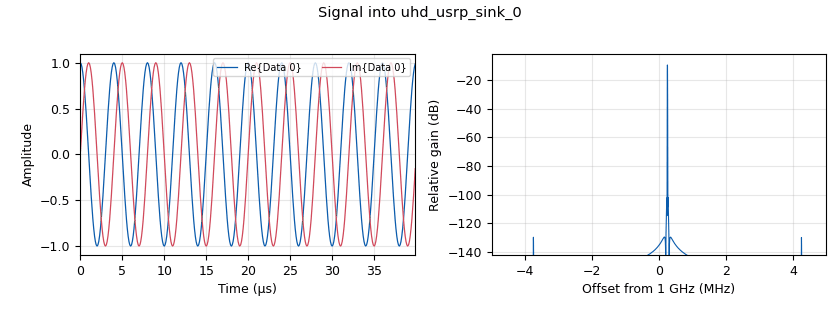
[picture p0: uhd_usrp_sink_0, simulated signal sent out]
<?xml version='1.0' encoding='utf-8'?>
<?grc format='1' created='3.7.12'?>
<flow_graph>
<block>
<key>options</key>
<param><key>id</key><value>basictest</value></param>
<param><key>generate_options</key><value>wx_gui</value></param>
</block>
<block>
<key>variable</key>
<param><key>id</key><value>samp_rate</value></param>
<param><key>value</key><value>10e6</value></param>
</block>
<block>
<key>analog_sig_source_x</key>
<param><key>id</key><value>analog_sig_source_x_0</value></param>
<param><key>amp</key><value>1</value></param>
<param><key>freq</key><value>250000</value></param>
<param><key>offset</key><value>0</value></param>
<param><key>type</key><value>complex</value></param>
<param><key>samp_rate</key><value>samp_rate</value></param>
<param><key>waveform</key><value>analog.GR_COS_WAVE</value></param>
</block>
<block>
<key>uhd_usrp_sink</key>
<param><key>id</key><value>uhd_usrp_sink_0</value></param>
<param><key>ant0</key><value>TX/RX</value></param>
<param><key>bw0</key><value>samp_rate</value></param>
<param><key>center_freq0</key><value>1e9</value></param>
<param><key>norm_gain0</key><value>False</value></param>
<param><key>gain0</key><value>10</value></param>
<param><key>clock_rate</key><value>0.0</value></param>
<param><key>dev_addr</key><value></value></param>
<param><key>dev_args</key><value>""</value></param>
<param><key>type</key><value>fc32</value></param>
<param><key>samp_rate</key><value>samp_rate</value></param>
<param><key>hide_cmd_port</key><value>False</value></param>
<param><key>hide_lo_controls</key><value>True</value></param>
<param><key>sync</key><value></value></param>
<param><key>len_tag_name</key><value></value></param>
</block>
<block>
<key>uhd_usrp_source</key>
<param><key>id</key><value>uhd_usrp_source_0</value></param>
<param><key>ant0</key><value>RX2</value></param>
<param><key>bw0</key><value>samp_rate</value></param>
<param><key>center_freq0</key><value>1e9</value></param>
<param><key>dc_offs_enb0</key><value>""</value></param>
<param><key>iq_imbal_enb0</key><value>""</value></param>
<param><key>norm_gain0</key><value>False</value></param>
<param><key>gain0</key><value>-10</value></param>
<param><key>clock_rate</key><value>0.0</value></param>
<param><key>dev_addr</key><value></value></param>
<param><key>dev_args</key><value>""</value></param>
<param><key>minoutbuf</key><value>100000000</value></param>
<param><key>type</key><value>fc32</value></param>
<param><key>samp_rate</key><value>samp_rate</value></param>
<param><key>hide_cmd_port</key><value>False</value></param>
<param><key>hide_lo_controls</key><value>True</value></param>
<param><key>sync</key><value></value></param>
</block>
<block>
<key>wxgui_fftsink2</key>
<param><key>id</key><value>wxgui_fftsink2_0</value></param>
<param><key>avg_alpha</key><value>0</value></param>
<param><key>average</key><value>True</value></param>
<param><key>baseband_freq</key><value>1e9</value></param>
<param><key>fft_size</key><value>1024</value></param>
<param><key>freqvar</key><value>None</value></param>
<param><key>peak_hold</key><value>False</value></param>
<param><key>ref_level</key><value>0</value></param>
<param><key>ref_scale</key><value>2.0</value></param>
<param><key>fft_rate</key><value>15</value></param>
<param><key>samp_rate</key><value>samp_rate</value></param>
<param><key>title</key><value>FFT Plot</value></param>
<param><key>type</key><value>complex</value></param>
<param><key>win</key><value>None</value></param>
<param><key>y_divs</key><value>10</value></param>
<param><key>y_per_div</key><value>10</value></param>
</block>
<connection><source_block_id>analog_sig_source_x_0</source_block_id><sink_block_id>uhd_usrp_sink_0</sink_block_id><source_key>0</source_key><sink_key>0</sink_key></connection>
<connection><source_block_id>uhd_usrp_source_0</source_block_id><sink_block_id>wxgui_fftsink2_0</sink_block_id><source_key>0</source_key><sink_key>0</sink_key></connection>
</flow_graph>
